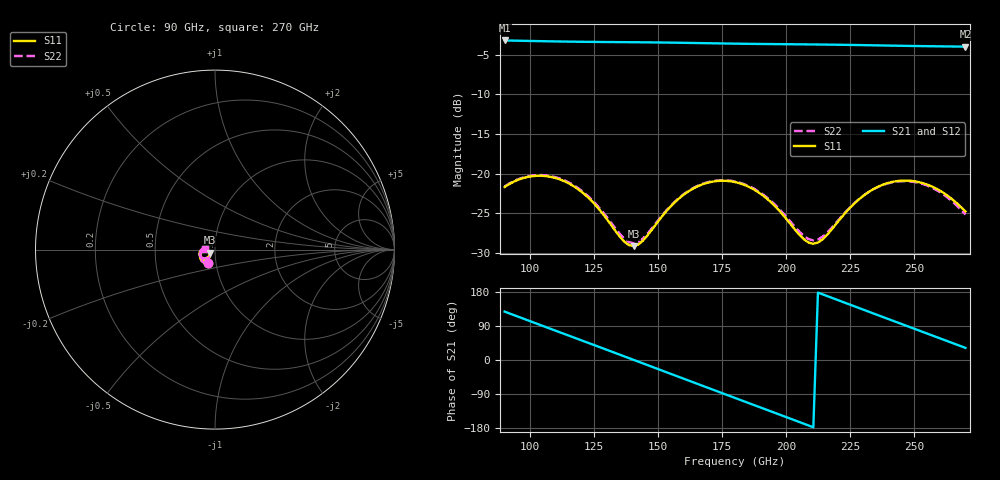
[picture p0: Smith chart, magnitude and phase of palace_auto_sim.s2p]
#  GHZ S DB R 50
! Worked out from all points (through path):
!   101 points, 90 GHz to 270 GHz, reference 50 ohm
!   highest |S21| = -3.22 dB at 90 GHz (marker M1); lowest = -4.0 dB at 270 GHz (marker M2)
!   group delay of S21, straight-line fit = 7.04 ps
!   lowest |S11| = -29.2 dB at 140.4 GHz (marker M3), VSWR 1.07, Z = 47.1 - j1.68 ohm
!   |S11| at or under -10 dB: start of sweep to end of sweep
!   |S22| runs from -28.8 to -20.2 dB; largest |S21 - S12| = 1.2e-13
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90  -21.70 -116.4  -3.22 127.7  -3.22 127.7  -21.62 -115.9
97.2  -20.58 -128.8  -3.27 109.5  -3.27 109.5  -20.50 -128.3
104.4  -20.29 -142.3  -3.31 91.2  -3.31 91.2  -20.19 -141.6
111.6  -20.75 -155.4  -3.35 73.1  -3.35 73.1  -20.64 -154.7
120.6  -22.45 -169.4  -3.39 50.4  -3.39 50.4  -22.30 -168.5
131.4  -26.40 -173.9  -3.42 23.1  -3.42 23.1  -26.12 -173.0
140.4  -29.16 -149.2  -3.45 0.3  -3.45 0.3  -28.80 -149.8
151.2  -25.53 -125.2  -3.48 -27.1  -3.48 -27.1  -25.41 -126.2
165.6  -21.59 -138.5  -3.55 -63.7  -3.55 -63.7  -21.52 -138.7
172.8  -20.95 -149.9  -3.59 -81.9  -3.59 -81.9  -20.88 -149.9
180  -21.08 -161.7  -3.62 -100.1  -3.62 -100.1  -21.00 -161.5
187.2  -21.98 -172.4  -3.65 -118.3  -3.65 -118.3  -21.87 -172.0
196.2  -24.31 179.0  -3.68 -141.0  -3.68 -141.0  -24.11 179.6
203.4  -27.06 -177.7  -3.71 -159.3  -3.71 -159.3  -26.73 -177.3
210.6  -28.85 -157.0  -3.73 -177.5  -3.73 -177.5  -28.43 -158.2
217.8  -27.05 -136.3  -3.75 164.2  -3.75 164.2  -26.83 -138.7
225  -24.30 -132.9  -3.79 145.9  -3.79 145.9  -24.24 -135.1
234  -21.98 -141.1  -3.83 123.0  -3.83 123.0  -22.00 -142.9
241.2  -21.08 -151.2  -3.87 104.8  -3.87 104.8  -21.13 -152.9
248.4  -20.91 -162.0  -3.91 86.6  -3.91 86.6  -21.00 -163.8
255.6  -21.46 -172.4  -3.95 68.4  -3.95 68.4  -21.60 -174.2
270  -24.78 176.4  -4.00 32.0  -4.00 32.0  -25.18 174.3
